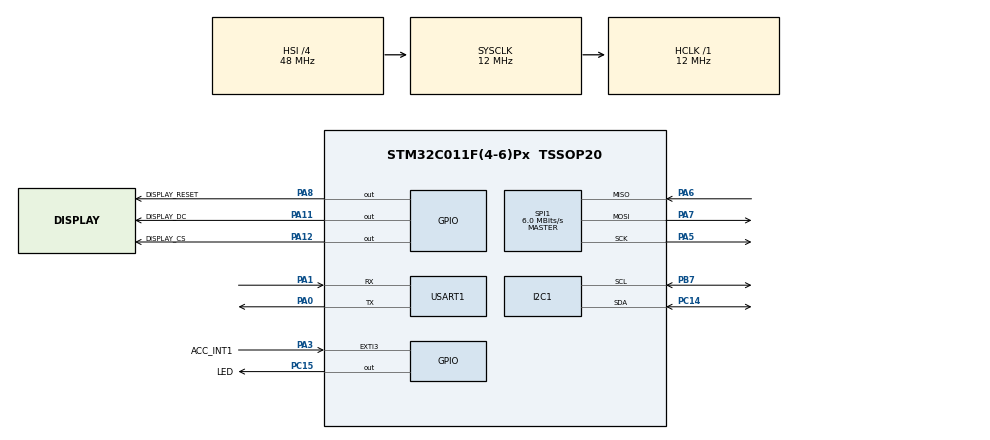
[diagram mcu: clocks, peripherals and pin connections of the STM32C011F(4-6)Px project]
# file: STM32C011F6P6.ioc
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I2C1.Timing=0x00402D41
Mcu.Family=STM32C0
Mcu.Name=STM32C011F(4-6)Px
Mcu.Package=TSSOP20
NVIC.EXTI2_3_IRQn=true\:0\:0\:false\:false\:true\:true\:true\:true
NVIC.SPI1_IRQn=true\:0\:0\:false\:false\:true\:true\:true\:true
PA0.Mode=Asynchronous
PA0.Signal=USART1_TX
PA1.Mode=Asynchronous
PA1.Signal=USART1_RX
PA11\ [PA9].GPIO_Label=DISPLAY_DC
PA11\ [PA9].Signal=GPIO_Output
PA12\ [PA10].GPIO_Label=DISPLAY_CS
PA12\ [PA10].Signal=GPIO_Output
PA13.Mode=Serial_Wire
PA13.Signal=DEBUG_SWDIO
PA14-BOOT0.Mode=Serial_Wire
PA14-BOOT0.Signal=DEBUG_SWCLK
PA3.GPIO_Label=ACC_INT1
PA3.GPIO_ModeDefaultEXTI=GPIO_MODE_IT_RISING
PA3.GPIO_PuPd=GPIO_NOPULL
PA3.Signal=GPXTI3
PA5.Mode=Full_Duplex_Master
PA5.Signal=SPI1_SCK
PA6.Mode=Full_Duplex_Master
PA6.Signal=SPI1_MISO
PA7.Mode=Full_Duplex_Master
PA7.Signal=SPI1_MOSI
PA8.GPIO_Label=DISPLAY_RESET
PA8.Signal=GPIO_Output
PB7.Mode=I2C
PB7.Signal=I2C1_SCL
PC14-OSCX_IN\ (PC14).Mode=I2C
PC14-OSCX_IN\ (PC14).Signal=I2C1_SDA
PC15-OSCX_OUT\ (PC15).GPIO_Label=LED
PC15-OSCX_OUT\ (PC15).Signal=GPIO_Output
ProjectManager.HeapSize=0x200
ProjectManager.StackSize=0x400
ProjectManager.TargetToolchain=STM32CubeIDE
RCC.ADCFreq_Value=12000000
RCC.AHBFreq_Value=12000000
RCC.CortexFreq_Value=12000000
RCC.EXTERNAL_CLOCK_VALUE=12288000
RCC.HCLKFreq_Value=12000000
RCC.HSE_VALUE=8000000
RCC.HSI_VALUE=48000000
RCC.LSE_VALUE=32768
RCC.SYSCLKFreq_VALUE=12000000
SPI1.BaudRatePrescaler=SPI_BAUDRATEPRESCALER_2
SPI1.CalculateBaudRate=6.0 MBits/s
SPI1.Direction=SPI_DIRECTION_2LINES
SPI1.Mode=SPI_MODE_MASTER
SPI1.VirtualType=VM_MASTER
USART1.VirtualMode-Asynchronous=VM_ASYNC
board=custom

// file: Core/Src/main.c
/* USER CODE BEGIN Header */
/**
 ******************************************************************************
 * @file           : main.c
 * @brief          : Main program body
 ******************************************************************************
 * @attention
 *
 * Copyright (c) 2025 STMicroelectronics.
 * All rights reserved.
 *
 * This software is licensed under terms that can be found in the LICENSE file
 * in the root directory of this software component.
 * If no LICENSE file comes with this software, it is provided AS-IS.
 *
 ******************************************************************************
 */
/* USER CODE END Header */
#include "main.h"

/* USER CODE BEGIN Includes */

#include "ssd1331.h"
#include "bma400.h"
#include "bma400_defs.h"
#include "stdio.h"

//#include "fonts/_images.h"

//#include "fonts/Font_3_Tiny.h"
//#include "fonts/Font_3_PicoPixel.h"
//#include "fonts/Font_3_TomThumb_Extended.h"
//#include "fonts/Font_5_Org.h"
//#include "fonts/Font_8_Sinclair.h"
//#include "fonts/Font_8_Sinclair_Inverted.h"
//#include "fonts/Font_8_Tiny.h"
//#include "fonts/Font_8_Myke.h"
//#include "fonts/Font_8_Default.h"
//#include "fonts/Font_8_Retro.h"
//#include "fonts/Font_9_Mono.h"
//#include "fonts/Font_9_Mono_Bold.h"
//#include "fonts/Font_9_Mono_Bold_Oblique.h"
//#include "fonts/Font_9_Mono_Oblique.h"
//#include "fonts/Font_9_Sans.h"
//#include "fonts/Font_9_Sans_Bold.h"
//#include "fonts/Font_9_Sans_Bold_Oblique.h"
//#include "fonts/Font_9_Sans_Oblique.h"
//#include "fonts/Font_9_Serif.h"
//#include "fonts/Font_9_Serif_Bold.h"
//#include "fonts/Font_9_Serif_Bold_Italic.h"
//#include "fonts/Font_9_Serif_Italic.h"
//#include "fonts/Font_12_Mono.h"
//#include "fonts/Font_12_Mono_Bold.h"
//#include "fonts/Font_12_Mono_Bold_Oblique.h"
//#include "fonts/Font_12_Mono_Oblique.h"
#include "fonts/Font_12_Sans.h"
//#include "fonts/Font_12_Sans_Bold.h"
//#include "fonts/Font_12_Sans_Bold_Oblique.h"
//#include "fonts/Font_12_Sans_Oblique.h"
//#include "fonts/Font_12_Serif.h"
//#include "fonts/Font_12_Serif_Bold.h"
//#include "fonts/Font_12_Serif_Bold_Italic.h"
//#include "fonts/Font_12_Serif_Italic.h"
//#include "fonts/Font_16_Arial.h"
//#include "fonts/Font_16_Arial_Bold.h"
//#include "fonts/Font_16_Arial_Italic.h"
//#include "fonts/Font_16_Default.h"
//#include "fonts/Font_16_FranklinGothic.h"
//#include "fonts/Font_16_Hallfetica.h"
//#include "fonts/Font_16_Nadianne.h"
//#include "fonts/Font_16_Sinclair.h"
//#include "fonts/Font_16_Sinclair_Inverted.h"
//#include "fonts/Font_16_Swiss_Outline.h"
//#include "fonts/Font_16_Matrix_Full.h"
//#include "fonts/Font_16_Matrix_Full_Slash.h"
//#include "fonts/Font_16_Matrix_Num.h"
//#include "fonts/Font_16_Arial_Round.h"
//#include "fonts/Font_16_OCR.h"
//#include "fonts/Font_16_Segment_16_Full.h"
//#include "fonts/Font_16_Grotesk.h"
//#include "fonts/Font_16_Grotesk_Bold.h"
//#include "fonts/Font_16_Retro.h"
//#include "fonts/Font_18_Mono.h"
//#include "fonts/Font_18_Mono_Bold.h"
//#include "fonts/Font_18_Mono_Bold_Oblique.h"
//#include "fonts/Font_18_Mono_Oblique.h"
//#include "fonts/Font_18_Sans.h"
//#include "fonts/Font_18_Sans_Bold.h"
//#include "fonts/Font_18_Sans_Bold_Oblique.h"
//#include "fonts/Font_18_Sans_Oblique.h"
//#include "fonts/Font_18_Serif.h"
//#include "fonts/Font_18_Serif_Bold.h"
//#include "fonts/Font_18_Serif_Bold_Italic.h"
//#include "fonts/Font_18_Serif_Italic.h"
//#include "fonts/Font_24_Matrix_Num.h"
//#include "fonts/Font_24_Inconsola.h"
//#include "fonts/Font_24_Ubuntu.h"
//#include "fonts/Font_24_Ubuntu_Bold.h"
//#include "fonts/Font_24_Segment_16_Full.h"
//#include "fonts/Font_24_Mono.h"
//#include "fonts/Font_24_Mono_Bold.h"
//#include "fonts/Font_24_Mono_Bold_Oblique.h"
//#include "fonts/Font_24_Mono_Oblique.h"
//#include "fonts/Font_24_Grotesk.h"
//#include "fonts/Font_24_Grotesk_Bold.h"
//#include "fonts/Font_24_Sans.h"
//#include "fonts/Font_24_Sans_Bold.h"
//#include "fonts/Font_24_Sans_Bold_Oblique.h"
//#include "fonts/Font_24_Sans_Oblique.h"
//#include "fonts/Font_24_Serif.h"
//#include "fonts/Font_24_Serif_Bold.h"
//#include "fonts/Font_24_Serif_Bold_Italic.h"
//#include "fonts/Font_24_SerifItalic.h"
//#include "fonts/Font_32_Dingbats.h"
//#include "fonts/Font_32_Special.h"
//#include "fonts/Font_32_Calibri_Bold.h"
//#include "fonts/Font_32_Arial_Num_Plus.h"
//#include "fonts/Font_32_Matrix_Num.h"
//#include "fonts/Font_32_Segment_7_Full.h"
//#include "fonts/Font_32_Segment_7_Num_Plus.h"
//#include "fonts/Font_32_Segment_16_Full.h"
//#include "fonts/Font_32_Segment_18_Full.h"
//#include "fonts/Font_32_Grotesk.h"
//#include "fonts/Font_32_Grotesk_Bold.h"
//#include "fonts/Font_40_Segment_16_Full.h"
//#include "fonts/Font_48_Battery.h"
//#include "fonts/Font_48_Segment_16_Num.h"
//#include "fonts/Font_64_Segment_16_Num.h"
//#include "fonts/Font_64_Segment_7_Num.h"

/* USER CODE END Includes */

I2C_HandleTypeDef hi2c1;

SPI_HandleTypeDef hspi1;

UART_HandleTypeDef huart1;

/* USER CODE BEGIN PV */

// HTC BMA400	-->
short x, y, z;
// <-- HTC BMA400

// HTC Step Counter -->
uint8_t have_step = 0;
uint16_t step_count = 0;
const uint16_t z_step_threshold = 950;
#define DISPLAY_BUF_LEN 32
char display_buffer[DISPLAY_BUF_LEN];
// <-- HTC Step Counter

/* USER CODE END PV */

void SystemClock_Config(void);
static void MX_GPIO_Init(void);
static void MX_SPI1_Init(void);
static void MX_I2C1_Init(void);
static void MX_USART1_UART_Init(void);

/* USER CODE BEGIN 0 */

// allow printf to serial
#ifdef __GNUC__
/* With GCC, small printf (option LD Linker->Libraries->Small printf
 set to 'Yes') calls __io_putchar() */
#define PUTCHAR_PROTOTYPE int __io_putchar(int ch)
#else
#define PUTCHAR_PROTOTYPE int fputc(int ch, FILE *f)
#endif /* __GNUC__ */

PUTCHAR_PROTOTYPE {
	HAL_UART_Transmit(&huart1, (unsigned char*) &ch, 1, 100);
	return ch;
}

// HTC BMA400	-->

// <-- HTC BMA400

/* USER CODE END 0 */

int main(void) {

	/* MCU Configuration--------------------------------------------------------*/

	/* Reset of all peripherals, Initializes the Flash interface and the Systick. */
	HAL_Init();

	/* Configure the system clock */
	SystemClock_Config();

	/* Initialize all configured peripherals */
	MX_GPIO_Init();
	MX_SPI1_Init();
	MX_I2C1_Init();
	MX_USART1_UART_Init();
	/* USER CODE BEGIN 2 */

//  // HTC Display -->
//
//	SSD1331_Init();
//
//	HAL_Delay(100);
//
//	LCD_Circle(48, 32, 5, 0, 1, BLUE);
//	LCD_Circle(48, 32, 10, 0, 1, YELLOW);
//	LCD_Circle(48, 32, 15, 0, 1, BLUE);
//	LCD_Circle(48, 32, 20, 0, 1, YELLOW);
//	LCD_Circle(48, 32, 25, 0, 1, BLUE);
//	LCD_Circle(48, 32, 30, 0, 1, YELLOW);
//
//	HAL_Delay(1000);
//
//	SSD1331_Frame(0, 0, 95, 63, BLUE, BLACK); HAL_Delay(1);
//
////	SSD1331_IMG(IMG0, 0, 0, 96, 64);
////	HAL_Delay(1000); SSD1331_Frame(0, 0, 95, 63, BLUE, BLACK); HAL_Delay(1);
////
////	SSD1331_IMG(IMG1, 16,0, 64, 64);
////	HAL_Delay(1000); SSD1331_Frame(0, 0, 95, 63, BLUE, BLACK); HAL_Delay(1);
////
////	SSD1331_IMG(IMG3, 32, 16, 32, 32);
////	SSD1331_copyWindow(32, 16, 64, 48, 0, 0);
////	HAL_Delay(1000); SSD1331_Frame(0, 0, 95, 63, BLUE, BLACK); HAL_Delay(1);
////
////	SSD1331_IMG(IMG2, 23, 7, 50,50);
////	SSD1331_setScrolling(Horizontal, 0, 64, 1);
////	SSD1331_enableScrolling(1);
////
////	HAL_Delay(1000); SSD1331_Frame(0, 0, 95, 63, BLUE, BLACK); HAL_Delay(1);
////	SSD1331_enableScrolling(0);
//
//	LCD_Font(5, 25, "SSD1331", _8_Retro, 1, RED);
//	LCD_Font(5, 45, "OLED", _12_Mono, 1, GREEN);
//	//LCD_Font(10, 60, "0123456", _9_Mono, 1, BLUE);
//
//	HAL_Delay(1000);
//
//	SSD1331_setScrolling(Horizontal, 0, 64, 1);
//	SSD1331_enableScrolling(1);
//
//  // <-- HTC Display
// HTC Step Counter Display -->
	SSD1331_Init();

	HAL_Delay(100);
	LCD_Font(5, 20, "Steps:", _12_Sans, 1, GREEN);

	// <-- HTC Step Counter Display

// HTC BMA400 -->
	printf("bma400 init\r\n");
	MPU_Init();

	// <-- HTC BMA400

	/* USER CODE END 2 */

	/* Infinite loop */
	while (1) {

		/* USER CODE BEGIN 3 */

//	  // HTC LED -->
//	  HAL_GPIO_TogglePin(LED_GPIO_Port, LED_Pin);
//	  HAL_Delay(500);
//	  // <-- HTC LED
//		// HTC BMA400	-->
//		MPU_Get_Gyroscope(&x, &y, &z);
//		printf("x=%6d y=%6d z=%6d\r\n", x, y, z);
//		HAL_Delay(100);
//		// <-- HTC BMA400
//		// HTC Step Counter -->
//		MPU_Get_Gyroscope(&x, &y, &z);
//		if (z < z_step_threshold && !have_step) {
//			have_step = 1;
//			step_count += 1;
//		}
//		if (z >= z_step_threshold && have_step) {
//			have_step = 0;
//		}
//		HAL_Delay(10);
//      // <-- HTC Step Counter
// HTC Step Counter Display -->
		MPU_Get_Gyroscope(&x, &y, &z);
		if (z < z_step_threshold && !have_step) {
			have_step = 1;
			snprintf(display_buffer, DISPLAY_BUF_LEN, "%d", step_count);
			LCD_Font(5, 45, display_buffer, _12_Sans, 1, BLACK);
			step_count += 1;
			snprintf(display_buffer, DISPLAY_BUF_LEN, "%d", step_count);
			LCD_Font(5, 45, display_buffer, _12_Sans, 1, GREEN);
		}
		if (z >= z_step_threshold && have_step) {
			have_step = 0;
		}

		// <-- HTC Step Counter Display

	}

	// HTC BMA400	-->
	// <-- HTC BMA400

	/* USER CODE END 3 */
}

void SystemClock_Config(void) {
	RCC_OscInitTypeDef RCC_OscInitStruct = { 0 };
	RCC_ClkInitTypeDef RCC_ClkInitStruct = { 0 };

	__HAL_FLASH_SET_LATENCY(FLASH_LATENCY_0);

	/** Initializes the RCC Oscillators according to the specified parameters
	 * in the RCC_OscInitTypeDef structure.
	 */
	RCC_OscInitStruct.OscillatorType = RCC_OSCILLATORTYPE_HSI;
	RCC_OscInitStruct.HSIState = RCC_HSI_ON;
	RCC_OscInitStruct.HSIDiv = RCC_HSI_DIV4;
	RCC_OscInitStruct.HSICalibrationValue = RCC_HSICALIBRATION_DEFAULT;
	if (HAL_RCC_OscConfig(&RCC_OscInitStruct) != HAL_OK) {
		Error_Handler();
	}

	/** Initializes the CPU, AHB and APB buses clocks
	 */
	RCC_ClkInitStruct.ClockType = RCC_CLOCKTYPE_HCLK | RCC_CLOCKTYPE_SYSCLK
			| RCC_CLOCKTYPE_PCLK1;
	RCC_ClkInitStruct.SYSCLKSource = RCC_SYSCLKSOURCE_HSI;
	RCC_ClkInitStruct.SYSCLKDivider = RCC_SYSCLK_DIV1;
	RCC_ClkInitStruct.AHBCLKDivider = RCC_HCLK_DIV1;
	RCC_ClkInitStruct.APB1CLKDivider = RCC_APB1_DIV1;

	if (HAL_RCC_ClockConfig(&RCC_ClkInitStruct, FLASH_LATENCY_0) != HAL_OK) {
		Error_Handler();
	}
}

static void MX_I2C1_Init(void) {

	hi2c1.Instance = I2C1;
	hi2c1.Init.Timing = 0x00402D41;
	hi2c1.Init.OwnAddress1 = 0;
	hi2c1.Init.AddressingMode = I2C_ADDRESSINGMODE_7BIT;
	hi2c1.Init.DualAddressMode = I2C_DUALADDRESS_DISABLE;
	hi2c1.Init.OwnAddress2 = 0;
	hi2c1.Init.OwnAddress2Masks = I2C_OA2_NOMASK;
	hi2c1.Init.GeneralCallMode = I2C_GENERALCALL_DISABLE;
	hi2c1.Init.NoStretchMode = I2C_NOSTRETCH_DISABLE;
	if (HAL_I2C_Init(&hi2c1) != HAL_OK) {
		Error_Handler();
	}

	/** Configure Analogue filter
	 */
	if (HAL_I2CEx_ConfigAnalogFilter(&hi2c1, I2C_ANALOGFILTER_ENABLE)
			!= HAL_OK) {
		Error_Handler();
	}

	/** Configure Digital filter
	 */
	if (HAL_I2CEx_ConfigDigitalFilter(&hi2c1, 0) != HAL_OK) {
		Error_Handler();
	}

}

static void MX_SPI1_Init(void) {

	/* SPI1 parameter configuration*/
	hspi1.Instance = SPI1;
	hspi1.Init.Mode = SPI_MODE_MASTER;
	hspi1.Init.Direction = SPI_DIRECTION_2LINES;
	hspi1.Init.DataSize = SPI_DATASIZE_8BIT;
	hspi1.Init.CLKPolarity = SPI_POLARITY_LOW;
	hspi1.Init.CLKPhase = SPI_PHASE_1EDGE;
	hspi1.Init.NSS = SPI_NSS_SOFT;
	hspi1.Init.BaudRatePrescaler = SPI_BAUDRATEPRESCALER_2;
	hspi1.Init.FirstBit = SPI_FIRSTBIT_MSB;
	hspi1.Init.TIMode = SPI_TIMODE_DISABLE;
	hspi1.Init.CRCCalculation = SPI_CRCCALCULATION_DISABLE;
	hspi1.Init.CRCPolynomial = 7;
	hspi1.Init.CRCLength = SPI_CRC_LENGTH_DATASIZE;
	hspi1.Init.NSSPMode = SPI_NSS_PULSE_ENABLE;
	if (HAL_SPI_Init(&hspi1) != HAL_OK) {
		Error_Handler();
	}

}

static void MX_USART1_UART_Init(void) {

	huart1.Instance = USART1;
	huart1.Init.BaudRate = 115200;
	huart1.Init.WordLength = UART_WORDLENGTH_8B;
	huart1.Init.StopBits = UART_STOPBITS_1;
	huart1.Init.Parity = UART_PARITY_NONE;
	huart1.Init.Mode = UART_MODE_TX_RX;
	huart1.Init.HwFlowCtl = UART_HWCONTROL_NONE;
	huart1.Init.OverSampling = UART_OVERSAMPLING_16;
	huart1.Init.OneBitSampling = UART_ONE_BIT_SAMPLE_DISABLE;
	huart1.Init.ClockPrescaler = UART_PRESCALER_DIV1;
	huart1.AdvancedInit.AdvFeatureInit = UART_ADVFEATURE_NO_INIT;
	if (HAL_UART_Init(&huart1) != HAL_OK) {
		Error_Handler();
	}
	if (HAL_UARTEx_SetTxFifoThreshold(&huart1, UART_TXFIFO_THRESHOLD_1_8)
			!= HAL_OK) {
		Error_Handler();
	}
	if (HAL_UARTEx_SetRxFifoThreshold(&huart1, UART_RXFIFO_THRESHOLD_1_8)
			!= HAL_OK) {
		Error_Handler();
	}
	if (HAL_UARTEx_DisableFifoMode(&huart1) != HAL_OK) {
		Error_Handler();
	}

}

static void MX_GPIO_Init(void) {
	GPIO_InitTypeDef GPIO_InitStruct = { 0 };

	/* GPIO Ports Clock Enable */
	__HAL_RCC_GPIOB_CLK_ENABLE();
	__HAL_RCC_GPIOC_CLK_ENABLE();
	__HAL_RCC_GPIOA_CLK_ENABLE();

	/*Configure GPIO pin Output Level */
	HAL_GPIO_WritePin(LED_GPIO_Port, LED_Pin, GPIO_PIN_RESET);

	/*Configure GPIO pin Output Level */
	HAL_GPIO_WritePin(GPIOA,
	DISPLAY_RESET_Pin | DISPLAY_DC_Pin | DISPLAY_CS_Pin, GPIO_PIN_RESET);

	/*Configure GPIO pin : LED_Pin */
	GPIO_InitStruct.Pin = LED_Pin;
	GPIO_InitStruct.Mode = GPIO_MODE_OUTPUT_PP;
	GPIO_InitStruct.Pull = GPIO_NOPULL;
	GPIO_InitStruct.Speed = GPIO_SPEED_FREQ_LOW;
	HAL_GPIO_Init(LED_GPIO_Port, &GPIO_InitStruct);

	/*Configure GPIO pin : ACC_INT1_Pin */
	GPIO_InitStruct.Pin = ACC_INT1_Pin;
	GPIO_InitStruct.Mode = GPIO_MODE_IT_RISING;
	GPIO_InitStruct.Pull = GPIO_NOPULL;
	HAL_GPIO_Init(ACC_INT1_GPIO_Port, &GPIO_InitStruct);

	/*Configure GPIO pins : DISPLAY_RESET_Pin DISPLAY_DC_Pin DISPLAY_CS_Pin */
	GPIO_InitStruct.Pin = DISPLAY_RESET_Pin | DISPLAY_DC_Pin | DISPLAY_CS_Pin;
	GPIO_InitStruct.Mode = GPIO_MODE_OUTPUT_PP;
	GPIO_InitStruct.Pull = GPIO_NOPULL;
	GPIO_InitStruct.Speed = GPIO_SPEED_FREQ_LOW;
	HAL_GPIO_Init(GPIOA, &GPIO_InitStruct);

	/* EXTI interrupt init*/
	HAL_NVIC_SetPriority(EXTI2_3_IRQn, 0, 0);
	HAL_NVIC_EnableIRQ(EXTI2_3_IRQn);

}

/* USER CODE BEGIN 4 */

void HAL_GPIO_EXTI_Callback(uint16_t GPIO_Pin) {
	if (GPIO_Pin == ACC_INT1_Pin) {
		//int1_flag = 1;
	}
}

/* USER CODE END 4 */

void Error_Handler(void) {
	__disable_irq();
	while (1) {
	}
}
